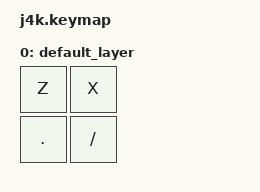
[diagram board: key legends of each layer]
/*
 * Copyright (c) 2021 The ZMK Contributors
 *
 * SPDX-License-Identifier: MIT
 */

#include <behaviors.dtsi>
#include <dt-bindings/zmk/keys.h>
#include <dt-bindings/zmk/bt.h>
#include <dt-bindings/zmk/outputs.h>

#define DEFAULT 0

/ {
    keymap {
        compatible = "zmk,keymap";

        default_layer {
            bindings = <
        &kp Z    &kp X
        &kp PERIOD   &kp SLASH  
            >;
        };
    };
};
